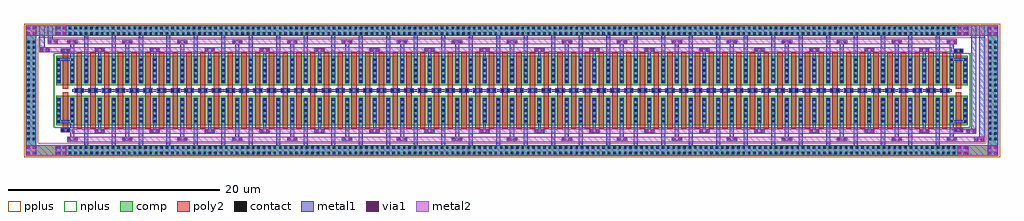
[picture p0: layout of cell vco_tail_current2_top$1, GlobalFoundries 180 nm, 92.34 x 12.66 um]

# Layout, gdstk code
from math import pi, radians
import gdstk
lib = gdstk.Library(unit=1e-6, precision=5e-09)
def R(c, l, rs):  # rectangles x0, y0, x1, y1
    for r in rs: c.add(gdstk.rectangle(r[:2], r[2:], *l))
def A(c, l, x, y, w, h, nx, ny, dx, dy):  # array of equal rectangles
    R(c, l, [(x+i*dx, y+j*dy, x+i*dx+w, y+j*dy+h) for i in range(nx) for j in range(ny)])
comp = (22, 0)
poly2 = (30, 0)
pplus = (31, 0)
nplus = (32, 0)
contact = (33, 0)
metal1 = (34, 0)
via1 = (35, 0)
metal2 = (36, 0)

m1_m2_7 = lib.new_cell('M1_M2$7')
R(m1_m2_7, via1, [(0.1,0.01,0.36,0.27), (0.62,0.01,0.88,0.27)])
m1_m2_7.add(gdstk.FlexPath([(0,0.14),(0.98,0.14)], 0.28, ends="flush", simple_path=True, layer=34, datatype=0))  # metal1
m1_m2_7.add(gdstk.FlexPath([(0,0.14),(0.98,0.14)], 0.28, ends="flush", simple_path=True, layer=36, datatype=0))  # metal2

vco_tail_current_ncell2_ = lib.new_cell('vco_tail_current_ncell2_1$2$1$1')
R(vco_tail_current_ncell2_, comp, [(0,0.3,0.42,3.12), (0.42,0.3,1.3,3.12), (1.3,0.3,1.72,3.12)])
R(vco_tail_current_ncell2_, poly2, [(0.61,0,1.11,3.42)])
A(vco_tail_current_ncell2_, contact, 0.1, 0.58, 0.22, 0.22, 1, 5, 0, 0.51)
A(vco_tail_current_ncell2_, contact, 1.4, 0.58, 0.22, 0.22, 1, 5, 0, 0.51)
R(vco_tail_current_ncell2_, metal1, [(0.02,0.5,0.4,2.92), (1.32,0.5,1.7,2.92)])

c_vco_tail_current_ncell2_ = lib.new_cell('vco_tail_current_ncell2_4$1$1')
A(c_vco_tail_current_ncell2_, poly2, 0.425, 3.42, 0.87, 0.36, 4, 1, 1.3, 0)
R(c_vco_tail_current_ncell2_, contact, [(0.495,3.49,0.715,3.71), (1.005,3.49,1.225,3.71), (1.795,3.49,2.015,3.71), (2.305,3.49,2.525,3.71), (3.095,3.49,3.315,3.71), (3.605,3.49,3.825,3.71), (4.395,3.49,4.615,3.71), (4.905,3.49,5.125,3.71)])
A(c_vco_tail_current_ncell2_, metal1, 0.415, 3.41, 0.89, 0.38, 4, 1, 1.3, 0)
c_vco_tail_current_ncell2_.add(gdstk.Reference(vco_tail_current_ncell2_, (0,0)))
c_vco_tail_current_ncell2_.add(gdstk.Reference(vco_tail_current_ncell2_, (1.3,0)))
c_vco_tail_current_ncell2_.add(gdstk.Reference(vco_tail_current_ncell2_, (2.6,0)))
c_vco_tail_current_ncell2_.add(gdstk.Reference(vco_tail_current_ncell2_, (3.9,0)))

c_vco_tail_current_ncell2__ = lib.new_cell('vco_tail_current_ncell2_4_4$1')
R(c_vco_tail_current_ncell2__, via1, [(0.1,1.57,0.36,1.83), (0.62,1.57,0.88,1.83), (5.3,1.57,5.56,1.83), (5.82,1.57,6.08,1.83), (2.695,2.35,2.955,2.61), (3.215,2.35,3.475,2.61), (2.695,10.05,2.955,10.31), (3.215,10.05,3.475,10.31), (0.1,10.83,0.36,11.09), (0.62,10.83,0.88,11.09), (5.3,10.83,5.56,11.09), (5.82,10.83,6.08,11.09)])
c_vco_tail_current_ncell2__.add(gdstk.FlexPath([(0,10.96),(0.98,10.96)], 0.28, ends="flush", simple_path=True, layer=34, datatype=0))  # metal1
c_vco_tail_current_ncell2__.add(gdstk.FlexPath([(5.2,10.96),(6.18,10.96)], 0.28, ends="flush", simple_path=True, layer=34, datatype=0))  # metal1
c_vco_tail_current_ncell2__.add(gdstk.FlexPath([(0.485,11.99),(5.685,11.99)], 1, ends="flush", simple_path=True, layer=34, datatype=0))  # metal1
c_vco_tail_current_ncell2__.add(gdstk.FlexPath([(2.595,10.18),(3.575,10.18)], 0.28, ends="flush", simple_path=True, layer=34, datatype=0))  # metal1
c_vco_tail_current_ncell2__.add(gdstk.FlexPath([(3.085,9.43),(3.085,10.04)], 0.28, ends="flush", simple_path=True, layer=34, datatype=0))  # metal1
c_vco_tail_current_ncell2__.add(gdstk.FlexPath([(0.485,9.43),(0.485,10.82)], 0.38, ends="flush", simple_path=True, layer=34, datatype=0))  # metal1
c_vco_tail_current_ncell2__.add(gdstk.FlexPath([(5.685,9.43),(5.685,10.82)], 0.38, ends="flush", simple_path=True, layer=34, datatype=0))  # metal1
c_vco_tail_current_ncell2__.add(gdstk.FlexPath([(1.785,11.49),(1.785,9.43)], 0.38, ends="flush", simple_path=True, layer=34, datatype=0))  # metal1
c_vco_tail_current_ncell2__.add(gdstk.FlexPath([(4.385,11.49),(4.385,9.43)], 0.38, ends="flush", simple_path=True, layer=34, datatype=0))  # metal1
c_vco_tail_current_ncell2__.add(gdstk.FlexPath([(0,1.7),(0.98,1.7)], 0.28, ends="flush", simple_path=True, layer=34, datatype=0))  # metal1
c_vco_tail_current_ncell2__.add(gdstk.FlexPath([(5.2,1.7),(6.18,1.7)], 0.28, ends="flush", simple_path=True, layer=34, datatype=0))  # metal1
c_vco_tail_current_ncell2__.add(gdstk.FlexPath([(0.485,0.67),(5.685,0.67)], 1, ends="flush", simple_path=True, layer=34, datatype=0))  # metal1
c_vco_tail_current_ncell2__.add(gdstk.FlexPath([(2.595,2.48),(3.575,2.48)], 0.28, ends="flush", simple_path=True, layer=34, datatype=0))  # metal1
c_vco_tail_current_ncell2__.add(gdstk.FlexPath([(3.085,3.23),(3.085,2.62)], 0.28, ends="flush", simple_path=True, layer=34, datatype=0))  # metal1
c_vco_tail_current_ncell2__.add(gdstk.FlexPath([(0.485,3.23),(0.485,1.84)], 0.38, ends="flush", simple_path=True, layer=34, datatype=0))  # metal1
c_vco_tail_current_ncell2__.add(gdstk.FlexPath([(5.685,3.23),(5.685,1.84)], 0.38, ends="flush", simple_path=True, layer=34, datatype=0))  # metal1
c_vco_tail_current_ncell2__.add(gdstk.FlexPath([(1.785,1.17),(1.785,3.23)], 0.38, ends="flush", simple_path=True, layer=34, datatype=0))  # metal1
c_vco_tail_current_ncell2__.add(gdstk.FlexPath([(4.385,1.17),(4.385,3.23)], 0.38, ends="flush", simple_path=True, layer=34, datatype=0))  # metal1
c_vco_tail_current_ncell2__.add(gdstk.FlexPath([(5.685,6.33),(0.485,6.33)], 0.28, ends="flush", simple_path=True, layer=34, datatype=0))  # metal1
c_vco_tail_current_ncell2__.add(gdstk.FlexPath([(0.485,11.99),(5.685,11.99)], 1, ends="flush", simple_path=True, layer=22, datatype=0))  # comp
c_vco_tail_current_ncell2__.add(gdstk.FlexPath([(0.485,0.67),(5.685,0.67)], 1, ends="flush", simple_path=True, layer=22, datatype=0))  # comp
c_vco_tail_current_ncell2__.add(gdstk.FlexPath([(0.485,10.18),(5.685,10.18)], 0.5, ends="flush", simple_path=True, layer=36, datatype=0))  # metal2
c_vco_tail_current_ncell2__.add(gdstk.FlexPath([(0.485,2.48),(5.685,2.48)], 0.5, ends="flush", simple_path=True, layer=36, datatype=0))  # metal2
c_vco_tail_current_ncell2__.add(gdstk.FlexPath([(0.485,10.96),(5.685,10.96)], 0.5, ends="flush", simple_path=True, layer=36, datatype=0))  # metal2
c_vco_tail_current_ncell2__.add(gdstk.FlexPath([(0.485,1.7),(5.685,1.7)], 0.5, ends="flush", simple_path=True, layer=36, datatype=0))  # metal2
c_vco_tail_current_ncell2__.add(gdstk.FlexPath([(0.485,11.99),(5.685,11.99)], 1.34, ends="flush", simple_path=True, layer=31, datatype=0))  # pplus
c_vco_tail_current_ncell2__.add(gdstk.FlexPath([(0.485,0.67),(5.685,0.67)], 1.34, ends="flush", simple_path=True, layer=31, datatype=0))  # pplus
c_vco_tail_current_ncell2__.add(gdstk.Reference(c_vco_tail_current_ncell2_, (0.275,2.73)))
c_vco_tail_current_ncell2__.add(gdstk.Reference(c_vco_tail_current_ncell2_, (0.275,9.93), x_reflection=True))

c_vco_tail_current_ncell2___ = lib.new_cell('vco_tail_current_ncell2_1$1$1')
R(c_vco_tail_current_ncell2___, comp, [(0,0.3,0.42,3.12), (0.42,0.3,1.3,3.12), (1.3,0.3,1.72,3.12)])
R(c_vco_tail_current_ncell2___, poly2, [(0.61,0,1.11,3.42)])
A(c_vco_tail_current_ncell2___, contact, 0.1, 0.58, 0.22, 0.22, 1, 5, 0, 0.51)
A(c_vco_tail_current_ncell2___, contact, 1.4, 0.58, 0.22, 0.22, 1, 5, 0, 0.51)
R(c_vco_tail_current_ncell2___, metal1, [(0.02,0.5,0.4,2.92), (1.32,0.5,1.7,2.92)])

c_vco_tail_current_ncell2____ = lib.new_cell('vco_tail_current_ncell2_1_2$1')
R(c_vco_tail_current_ncell2____, poly2, [(0.41,0.01,1.28,0.37), (0.41,0.01,1.28,0.37), (0.41,7.57,1.28,7.93), (0.41,7.57,1.28,7.93)])
R(c_vco_tail_current_ncell2____, contact, [(0.48,0.08,0.7,0.3), (0.48,0.08,0.7,0.3), (0.99,0.08,1.21,0.3), (0.99,0.08,1.21,0.3), (0.48,7.64,0.7,7.86), (0.48,7.64,0.7,7.86), (0.99,7.64,1.21,7.86), (0.99,7.64,1.21,7.86)])
R(c_vco_tail_current_ncell2____, metal1, [(0.4,0,1.29,0.38), (0.4,0,1.29,0.38), (0.4,7.56,1.29,7.94), (0.4,7.56,1.29,7.94)])
c_vco_tail_current_ncell2____.add(gdstk.FlexPath([(1.32,1.01),(0.4,1.01)], 0.28, ends="flush", simple_path=True, layer=34, datatype=0))  # metal1
c_vco_tail_current_ncell2____.add(gdstk.FlexPath([(1.32,6.93),(0.4,6.93)], 0.28, ends="flush", simple_path=True, layer=34, datatype=0))  # metal1
c_vco_tail_current_ncell2____.add(gdstk.Reference(c_vco_tail_current_ncell2___, (0,0.37)))
c_vco_tail_current_ncell2____.add(gdstk.Reference(c_vco_tail_current_ncell2___, (0,7.57), x_reflection=True))

vco_tail_current2_top_1 = lib.new_cell('vco_tail_current2_top$1')
R(vco_tail_current2_top_1, nplus, [(2.82,2.79,89.52,9.87)])
A(vco_tail_current2_top_1, contact, 3.22, 0.305, 0.22, 0.22, 169, 2, 0.51, 0.51)
A(vco_tail_current2_top_1, contact, 0.305, 1.63, 0.22, 0.22, 1, 19, 0, 0.51)
A(vco_tail_current2_top_1, contact, 0.815, 1.63, 0.22, 0.22, 1, 19, 0, 0.51)
A(vco_tail_current2_top_1, contact, 91.305, 1.63, 0.22, 0.22, 1, 19, 0, 0.51)
A(vco_tail_current2_top_1, contact, 91.815, 1.63, 0.22, 0.22, 1, 19, 0, 0.51)
A(vco_tail_current2_top_1, contact, 3.22, 11.625, 0.22, 0.22, 169, 2, 0.51, 0.51)
R(vco_tail_current2_top_1, metal1, [(89.91,1.45,90.39,1.95), (89.13,2.23,89.61,2.73), (1.95,9.93,2.43,10.43), (2.73,10.71,3.21,11.21)])
vco_tail_current2_top_1.add(gdstk.FlexPath([(2.48,10.71),(2.48,12.49)], 0.5, ends="flush", simple_path=True, layer=34, datatype=0))  # metal1
vco_tail_current2_top_1.add(gdstk.FlexPath([(1.7,9.93),(1.7,12.49)], 0.5, ends="flush", simple_path=True, layer=34, datatype=0))  # metal1
vco_tail_current2_top_1.add(gdstk.FlexPath([(90.64,1.45),(90.64,12.49)], 0.5, ends="flush", simple_path=True, layer=34, datatype=0))  # metal1
vco_tail_current2_top_1.add(gdstk.FlexPath([(89.86,2.23),(89.86,12.49)], 0.5, ends="flush", simple_path=True, layer=34, datatype=0))  # metal1
vco_tail_current2_top_1.add(gdstk.FlexPath([(0.67,12.49),(0.67,0.17)], 1, ends="flush", simple_path=True, layer=34, datatype=0))  # metal1
vco_tail_current2_top_1.add(gdstk.FlexPath([(4.57,11.99),(3.01,11.99)], 1, ends="flush", simple_path=True, layer=34, datatype=0))  # metal1
vco_tail_current2_top_1.add(gdstk.FlexPath([(4.57,0.67),(3.01,0.67)], 1, ends="flush", simple_path=True, layer=34, datatype=0))  # metal1
vco_tail_current2_top_1.add(gdstk.FlexPath([(4.57,0.67),(3.01,0.67)], 1, ends="flush", simple_path=True, layer=34, datatype=0))  # metal1
vco_tail_current2_top_1.add(gdstk.FlexPath([(91.67,12.49),(91.67,0.17)], 1, ends="flush", simple_path=True, layer=34, datatype=0))  # metal1
vco_tail_current2_top_1.add(gdstk.FlexPath([(87.77,11.99),(89.33,11.99)], 1, ends="flush", simple_path=True, layer=34, datatype=0))  # metal1
vco_tail_current2_top_1.add(gdstk.FlexPath([(87.77,0.67),(89.33,0.67)], 1, ends="flush", simple_path=True, layer=34, datatype=0))  # metal1
vco_tail_current2_top_1.add(gdstk.FlexPath([(87.77,0.67),(89.33,0.67)], 1, ends="flush", simple_path=True, layer=34, datatype=0))  # metal1
vco_tail_current2_top_1.add(gdstk.FlexPath([(4.57,11.99),(0.67,11.99),(0.67,0.67),(4.57,0.67)], 1, ends="flush", simple_path=True, layer=22, datatype=0))  # comp
vco_tail_current2_top_1.add(gdstk.FlexPath([(87.77,11.99),(91.67,11.99),(91.67,0.67),(87.77,0.67)], 1, ends="flush", simple_path=True, layer=22, datatype=0))  # comp
vco_tail_current2_top_1.add(gdstk.FlexPath([(4.57,10.18),(1.45,10.18)], 0.5, ends="flush", simple_path=True, layer=36, datatype=0))  # metal2
vco_tail_current2_top_1.add(gdstk.FlexPath([(4.57,10.96),(2.23,10.96)], 0.5, ends="flush", simple_path=True, layer=36, datatype=0))  # metal2
vco_tail_current2_top_1.add(gdstk.FlexPath([(87.77,2.48),(90.11,2.48)], 0.5, ends="flush", simple_path=True, layer=36, datatype=0))  # metal2
vco_tail_current2_top_1.add(gdstk.FlexPath([(87.77,1.7),(90.89,1.7)], 0.5, ends="flush", simple_path=True, layer=36, datatype=0))  # metal2
vco_tail_current2_top_1.add(gdstk.FlexPath([(0.17,11.99),(4.01,11.99)], 1, ends="flush", simple_path=True, layer=36, datatype=0))  # metal2
vco_tail_current2_top_1.add(gdstk.FlexPath([(0.17,0.67),(4.01,0.67)], 1, ends="flush", simple_path=True, layer=36, datatype=0))  # metal2
vco_tail_current2_top_1.add(gdstk.FlexPath([(92.17,11.99),(88.33,11.99)], 1, ends="flush", simple_path=True, layer=36, datatype=0))  # metal2
vco_tail_current2_top_1.add(gdstk.FlexPath([(92.17,0.67),(88.33,0.67)], 1, ends="flush", simple_path=True, layer=36, datatype=0))  # metal2
vco_tail_current2_top_1.add(gdstk.FlexPath([(87.77,10.96),(88.265,10.96)], 0.5, ends="flush", simple_path=True, layer=36, datatype=0))  # metal2
vco_tail_current2_top_1.add(gdstk.FlexPath([(4.57,1.7),(4.085,1.7)], 0.5, ends="flush", simple_path=True, layer=36, datatype=0))  # metal2
vco_tail_current2_top_1.add(gdstk.FlexPath([(4.57,11.99),(0.67,11.99),(0.67,0.67),(4.57,0.67)], 1.34, ends="flush", simple_path=True, layer=31, datatype=0))  # pplus
vco_tail_current2_top_1.add(gdstk.FlexPath([(87.77,11.99),(91.67,11.99),(91.67,0.67),(87.77,0.67)], 1.34, ends="flush", simple_path=True, layer=31, datatype=0))  # pplus
vco_tail_current2_top_1.add(gdstk.Reference(m1_m2_7, (3.21,11.1), rotation=pi))
vco_tail_current2_top_1.add(gdstk.Reference(m1_m2_7, (2.43,10.32), rotation=pi))
vco_tail_current2_top_1.add(gdstk.Reference(m1_m2_7, (3.64,1.16), rotation=3*pi/2))
vco_tail_current2_top_1.add(gdstk.Reference(m1_m2_7, (3.1,1.16), rotation=3*pi/2))
vco_tail_current2_top_1.add(gdstk.Reference(m1_m2_7, (0.26,1.16), rotation=3*pi/2))
vco_tail_current2_top_1.add(gdstk.Reference(m1_m2_7, (0.8,12.48), rotation=3*pi/2))
vco_tail_current2_top_1.add(gdstk.Reference(m1_m2_7, (0.26,12.48), rotation=3*pi/2))
vco_tail_current2_top_1.add(gdstk.Reference(m1_m2_7, (3.64,12.48), rotation=3*pi/2))
vco_tail_current2_top_1.add(gdstk.Reference(m1_m2_7, (3.1,12.48), rotation=3*pi/2))
vco_tail_current2_top_1.add(gdstk.Reference(m1_m2_7, (0.8,1.16), rotation=3*pi/2))
vco_tail_current2_top_1.add(gdstk.Reference(m1_m2_7, (89.13,2.62), x_reflection=True))
vco_tail_current2_top_1.add(gdstk.Reference(m1_m2_7, (89.91,1.84), x_reflection=True))
vco_tail_current2_top_1.add(gdstk.Reference(m1_m2_7, (92.08,12.48), rotation=3*pi/2, x_reflection=True))
vco_tail_current2_top_1.add(gdstk.Reference(m1_m2_7, (91.54,12.48), rotation=3*pi/2, x_reflection=True))
vco_tail_current2_top_1.add(gdstk.Reference(m1_m2_7, (89.24,1.16), rotation=3*pi/2, x_reflection=True))
vco_tail_current2_top_1.add(gdstk.Reference(m1_m2_7, (88.7,12.48), rotation=3*pi/2, x_reflection=True))
vco_tail_current2_top_1.add(gdstk.Reference(m1_m2_7, (88.7,1.16), rotation=3*pi/2, x_reflection=True))
vco_tail_current2_top_1.add(gdstk.Reference(m1_m2_7, (92.08,1.16), rotation=3*pi/2, x_reflection=True))
vco_tail_current2_top_1.add(gdstk.Reference(m1_m2_7, (91.54,1.16), rotation=3*pi/2, x_reflection=True))
vco_tail_current2_top_1.add(gdstk.Reference(m1_m2_7, (89.24,12.48), rotation=3*pi/2, x_reflection=True))
vco_tail_current2_top_1.add(gdstk.Reference(c_vco_tail_current_ncell2__, (9.285,0)))
vco_tail_current2_top_1.add(gdstk.Reference(c_vco_tail_current_ncell2__, (4.085,0)))
vco_tail_current2_top_1.add(gdstk.Reference(c_vco_tail_current_ncell2__, (35.285,0)))
vco_tail_current2_top_1.add(gdstk.Reference(c_vco_tail_current_ncell2__, (82.085,0)))
vco_tail_current2_top_1.add(gdstk.Reference(c_vco_tail_current_ncell2__, (76.885,0)))
vco_tail_current2_top_1.add(gdstk.Reference(c_vco_tail_current_ncell2__, (71.685,0)))
vco_tail_current2_top_1.add(gdstk.Reference(c_vco_tail_current_ncell2__, (66.485,0)))
vco_tail_current2_top_1.add(gdstk.Reference(c_vco_tail_current_ncell2__, (61.285,0)))
vco_tail_current2_top_1.add(gdstk.Reference(c_vco_tail_current_ncell2__, (56.085,0)))
vco_tail_current2_top_1.add(gdstk.Reference(c_vco_tail_current_ncell2__, (50.885,0)))
vco_tail_current2_top_1.add(gdstk.Reference(c_vco_tail_current_ncell2__, (40.485,0)))
vco_tail_current2_top_1.add(gdstk.Reference(c_vco_tail_current_ncell2__, (30.085,0)))
vco_tail_current2_top_1.add(gdstk.Reference(c_vco_tail_current_ncell2__, (24.885,0)))
vco_tail_current2_top_1.add(gdstk.Reference(c_vco_tail_current_ncell2__, (19.685,0)))
vco_tail_current2_top_1.add(gdstk.Reference(c_vco_tail_current_ncell2__, (14.485,0)))
vco_tail_current2_top_1.add(gdstk.Reference(c_vco_tail_current_ncell2__, (45.685,0)))
vco_tail_current2_top_1.add(gdstk.Reference(c_vco_tail_current_ncell2____, (87.56,2.36)))
vco_tail_current2_top_1.add(gdstk.Reference(c_vco_tail_current_ncell2____, (4.78,2.36), rotation=pi, x_reflection=True))

lib.write_gds('vco_tail_current2_top_1.gds')
